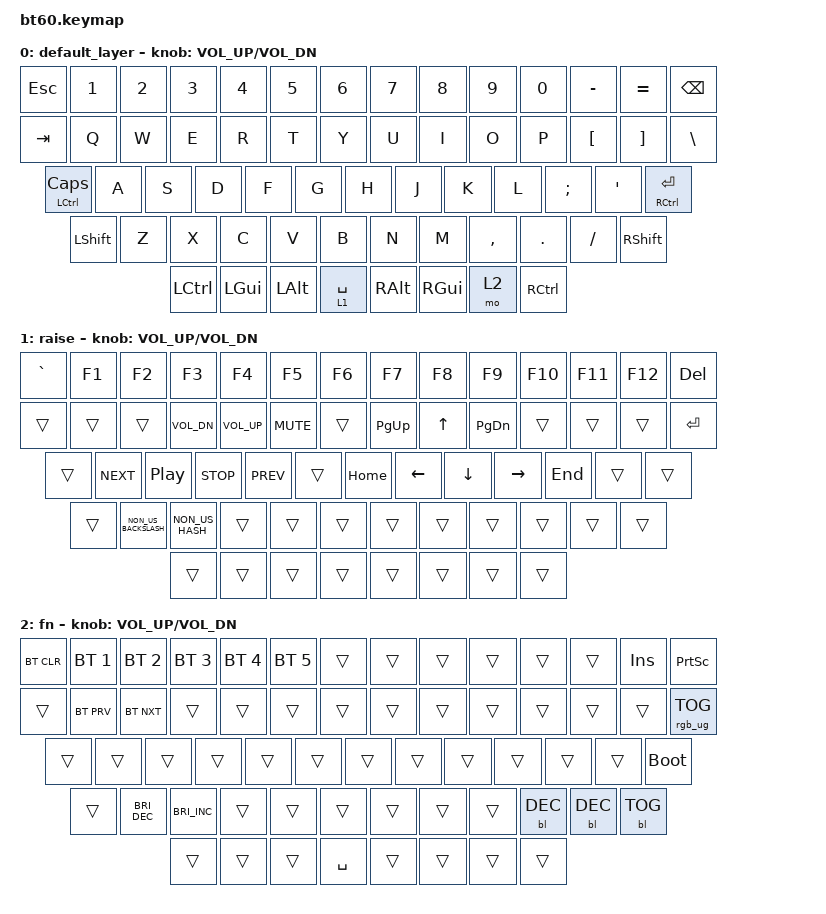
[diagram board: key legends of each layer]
#include <behaviors.dtsi>
#include <dt-bindings/zmk/keys.h>
#include <dt-bindings/zmk/bt.h>
#include <dt-bindings/zmk/rgb.h>
#include <dt-bindings/zmk/backlight.h>

/ {
	keymap {
		compatible = "zmk,keymap";

		default_layer {
				// ------------------------------------------------------------------------------------------
				// | ESC |  1  |  2  |  3  |  4  |  5  |  6  |  7  |  8  |  9  |  0  |  -  |  =  |   BKSP    |
				// | TAB  |  Q  |  W  |  E  |  R  |  T  |  Y  |  U  |  I  |  O  |  P  |  [  |  ]  |   \      |
				// | CAPS  |  A  |  S  |  D  |  F  |  G  |  H  |  J  |  K  |  L  |  ;  |  '  |     ENTER     |
				// |  SHIFT    |  Z  |  X  |  C  |  V  |  B  |  N  |  M  |  ,  |  .  | /   |      SHIFT      |
				// |  CTL  |  WIN  |  ALT  |            SPACE               | ALT   |  GUI  |  FN   |  CTRL  |
				// ------------------------------------------------------------------------------------------
			bindings = <

				&kp ESC &kp N1 &kp N2 &kp N3 &kp N4 &kp N5 &kp N6 &kp N7 &kp  N8   &kp  N9 &kp  N0  &kp MINUS &kp EQUAL &kp BSPC
				&kp TAB  &kp Q  &kp W  &kp E  &kp R  &kp T  &kp Y  &kp U  &kp  I    &kp  O  &kp  P   &kp LBKT &kp RBKT   &kp BSLH
				&mt LCTRL CAPS  &kp A  &kp S  &kp D  &kp F  &kp G  &kp H  &kp J  &kp  K    &kp  L  &kp SEMI &kp SQT            &mt RCTRL RET
				&kp LSHFT  &kp Z  &kp X  &kp C  &kp V  &kp B  &kp N  &kp M  &kp COMMA &kp DOT &kp FSLH                   &kp RSHFT
				&kp LCTRL &kp LGUI &kp LALT            &lt 1 SPACE                          &kp RALT  &kp RGUI &mo 2  &kp RCTRL
			>;
			sensor-bindings = <&inc_dec_kp C_VOL_UP C_VOL_DN>;
		};
		raise {
				// ------------------------------------------------------------------------------------------
				// |  `  |  F1 |  F2 |  F3 |  F4 |  F5 |  F6 |  F7 |  F8 |  F9 | F10 | F11 | F12 |   DEL     |
				// |      |     |     | VOL-| VOL+|MUTE |     |PGUP |  UP |PGDN |     |     |     |          |
				// |       |PREV |START|STOP |NEXT |     |HOME |LEFT |DOWN |RIGHT| END |     |    ENTER      |
				// |           |  \  |  #  |     |     |     |     |     |     |     |     |                 |
				// |       |       |       |                                |       |       |       |        |
				// ------------------------------------------------------------------------------------------
			bindings = <
				&kp GRAVE &kp F1 &kp F2 &kp F3 &kp F4 &kp F5 &kp F6 &kp F7 &kp F8 &kp F9 &kp F10 &kp F11 &kp F12 &kp DEL
				&trans &trans &trans &kp C_VOL_DN &kp C_VOL_UP &kp C_MUTE &trans &kp PAGE_UP &kp UP &kp PAGE_DOWN &trans &trans &trans &kp RET
				&trans    &kp C_NEXT &kp C_PLAY_PAUSE &kp C_STOP &kp C_PREV &trans &kp HOME &kp LEFT &kp DOWN &kp RIGHT &kp END  &trans   &trans
				&trans &kp NON_US_BACKSLASH &kp NON_US_HASH &trans &trans &trans &trans &trans &trans &trans &trans  &trans
				&trans &trans  &trans              &trans                            &trans   &trans   &trans &trans
			>;
			sensor-bindings = <&inc_dec_kp C_VOL_UP C_VOL_DN>;
		};
		fn {
				// ------------------------------------------------------------------------------------------
				// |BTclr| BT1 | BT2 | BT3 | BT4 | BT5 |     |     |     |     |     |     | Ins |   Print   |
				// |      |BTprv|BTnxt|     |     |     |     |     |     |     |     | Rdec| Rinc|   RGB    |
				// |       |     |     |     |     |     |     |     |     |     |     |     |   Bootloader  |
				// |           |BRIdn|BRIup|     |     |     |     |     |     |BLdec|BLinc|    Backlight    |
				// |       |       |       |            SPACE               |       |       |       |        |
				// ------------------------------------------------------------------------------------------
			bindings = <
				&bt BT_CLR &bt BT_SEL 1 &bt BT_SEL 2 &bt BT_SEL 3 &bt BT_SEL 4 &bt BT_SEL 5 &trans &trans &trans &trans &trans &trans &kp INS &kp PRINTSCREEN
				&trans &bt BT_PRV &bt BT_NXT &trans &trans &trans &trans &trans &trans &trans &trans &trans &trans &rgb_ug RGB_TOG
				&trans    &trans &trans &trans &trans &trans &trans &trans &trans &trans &trans  &trans   &bootloader
				&trans &kp C_BRI_DEC &kp C_BRI_INC &trans &trans &trans &trans &trans &trans &bl BL_DEC &bl BL_DEC  &bl BL_TOG
				&trans &trans  &trans              &kp SPACE                            &trans   &trans   &trans &trans
			>;
			sensor-bindings = <&inc_dec_kp C_VOL_UP C_VOL_DN>;
		};
	};
};
